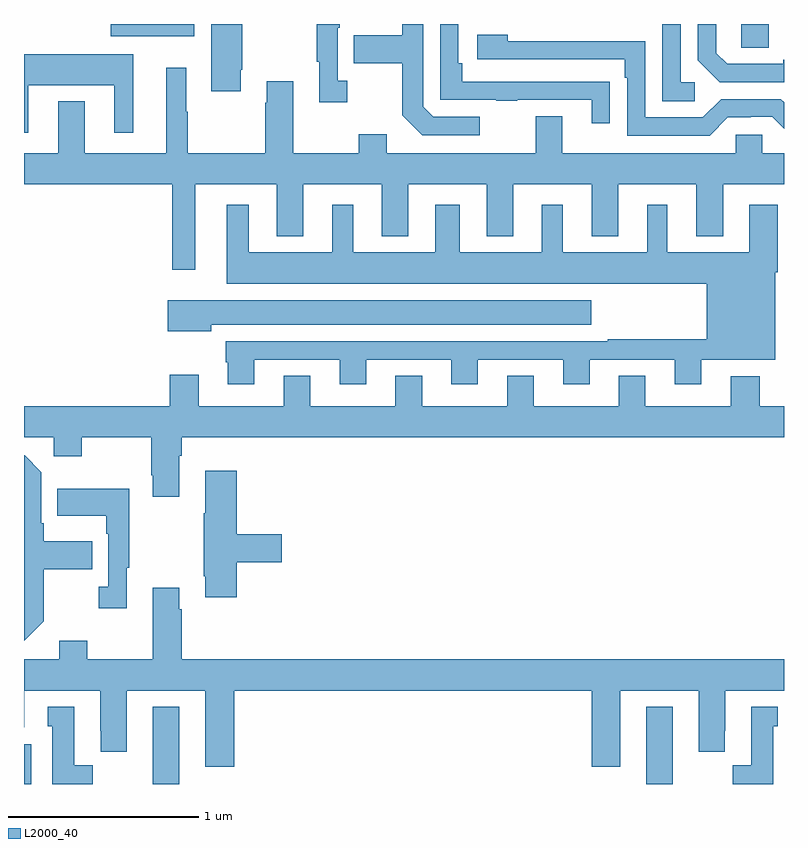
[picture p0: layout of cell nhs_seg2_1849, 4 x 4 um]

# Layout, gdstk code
import gdstk
lib = gdstk.Library(unit=1e-6, precision=1e-09)
def R(c, l, rs):  # rectangles x0, y0, x1, y1
    for r in rs: c.add(gdstk.rectangle(r[:2], r[2:], *l))
def P(c, l, *ps):  # polygons
    for p in ps: c.add(gdstk.Polygon(p, *l))
L2000_40 = (2000, 40)

nhs_seg2_1849 = lib.new_cell('nhs_seg2_1849')
R(nhs_seg2_1849, L2000_40, [(207,657.8,207.039,658.008), (207.677,657.8,207.817,658.207), (210.275,657.8,210.415,658.207), (210.774,661.675,210.919,661.8), (207.456,661.736,207.895,661.8)])
P(nhs_seg2_1849, L2000_40, [(208.141,661.558),(208.149,661.558),(208.149,661.8),(207.986,661.8),(207.986,661.446),(208.141,661.446)],
  [(209.398,661.311),(209.154,661.311),(209.1,661.365),(209.1,661.8),(208.992,661.8),(208.992,661.741),(208.735,661.741),(208.735,661.594),(208.992,661.594),(208.992,661.321),(209.097,661.215),(209.398,661.215)],
  [(210.083,661.496),(209.981,661.496),(209.981,661.497),(209.306,661.497),(209.306,661.594),(209.286,661.594),(209.286,661.8),(209.19,661.8),(209.19,661.401),(209.485,661.401),(209.485,661.396),(209.597,661.396),(209.597,661.401),(209.987,661.401),(209.987,661.278),(210.083,661.278)],
  [(210.529,661.494),(210.456,661.494),(210.456,661.8),(210.36,661.8),(210.36,661.393),(210.529,661.393)],
  [(211,661.613),(210.995,661.613),(210.995,661.59),(210.7,661.59),(210.643,661.647),(210.643,661.8),(210.546,661.8),(210.546,661.61),(210.662,661.494),(211,661.494)],
  [(208.702,661.502),(208.65,661.502),(208.65,661.781),(208.663,661.781),(208.663,661.8),(208.542,661.8),(208.542,661.601),(208.553,661.601),(208.553,661.389),(208.702,661.389)],
  [(210.705,661.308),(210.824,661.308),(210.824,661.311),(210.939,661.311),(211,661.25),(211,661.388),(210.984,661.404),(210.669,661.404),(210.573,661.308),(210.27,661.308),(210.27,661.71),(209.546,661.71),(209.546,661.744),(209.385,661.744),(209.385,661.614),(210.161,661.614),(210.161,661.517),(210.174,661.517),(210.174,661.212),(210.609,661.212)],
  [(207.022,661.478),(207.476,661.478),(207.476,661.227),(207.574,661.227),(207.574,661.642),(207,661.642),(207,661.227),(207.022,661.227)],
  [(207.901,660.956),(208.331,660.956),(208.331,660.683),(208.471,660.683),(208.471,660.956),(208.883,660.956),(208.883,660.683),(209.023,660.683),(209.023,660.956),(209.435,660.956),(209.435,660.683),(209.575,660.683),(209.575,660.956),(209.987,660.956),(209.987,660.683),(210.127,660.683),(210.127,660.956),(210.539,660.956),(210.539,660.683),(210.679,660.683),(210.679,660.956),(211,660.956),(211,661.12),(210.885,661.12),(210.885,661.218),(210.747,661.218),(210.747,661.12),(209.833,661.12),(209.833,661.315),(209.693,661.315),(209.693,661.12),(208.909,661.12),(208.909,661.219),(208.762,661.219),(208.762,661.12),(208.417,661.12),(208.417,661.498),(208.277,661.498),(208.277,661.385),(208.27,661.385),(208.27,661.12),(207.863,661.12),(207.863,661.337),(207.853,661.337),(207.853,661.57),(207.749,661.57),(207.749,661.12),(207.319,661.12),(207.319,661.393),(207.179,661.393),(207.179,661.12),(207,661.12),(207,660.956),(207.78,660.956),(207.78,660.507),(207.901,660.507)],
  [(208.213,660.033),(208.661,660.033),(208.661,659.904),(208.801,659.904),(208.801,660.033),(209.249,660.033),(209.249,659.904),(209.389,659.904),(209.389,660.033),(209.837,660.033),(209.837,659.904),(209.977,659.904),(209.977,660.033),(210.425,660.033),(210.425,659.904),(210.565,659.904),(210.565,660.032),(210.955,660.032),(210.955,660.494),(210.968,660.494),(210.968,660.85),(210.818,660.85),(210.818,660.598),(210.385,660.598),(210.385,660.85),(210.281,660.85),(210.281,660.598),(209.836,660.598),(209.836,660.85),(209.726,660.85),(209.726,660.598),(209.293,660.598),(209.293,660.85),(209.165,660.85),(209.165,660.598),(208.732,660.598),(208.732,660.85),(208.622,660.85),(208.622,660.598),(208.183,660.598),(208.183,660.85),(208.067,660.85),(208.067,660.434),(210.593,660.434),(210.593,660.142),(210.073,660.142),(210.073,660.129),(208.061,660.129),(208.061,660.021),(208.073,660.021),(208.073,659.904),(208.213,659.904)],
  [(207.985,660.218),(209.986,660.218),(209.986,660.346),(207.756,660.346),(207.756,660.182),(207.985,660.182)],
  [(207.817,659.528),(207.83,659.528),(207.83,659.624),(211,659.624),(211,659.788),(210.872,659.788),(210.872,659.947),(210.719,659.947),(210.719,659.788),(210.271,659.788),(210.271,659.948),(210.131,659.948),(210.131,659.788),(209.683,659.788),(209.683,659.948),(209.543,659.948),(209.543,659.788),(209.095,659.788),(209.095,659.948),(208.955,659.948),(208.955,659.788),(208.507,659.788),(208.507,659.948),(208.367,659.948),(208.367,659.788),(207.919,659.788),(207.919,659.953),(207.767,659.953),(207.767,659.788),(207,659.788),(207,659.624),(207.156,659.624),(207.156,659.525),(207.303,659.525),(207.303,659.624),(207.67,659.624),(207.67,659.425),(207.677,659.425),(207.677,659.313),(207.817,659.313)],
  [(207.103,658.657),(207.103,658.93),(207.359,658.93),(207.359,659.077),(207.103,659.077),(207.103,659.173),(207.09,659.173),(207.09,659.442),(207.003,659.529),(207,659.529),(207,658.554)],
  [(208.121,658.967),(208.357,658.967),(208.357,659.114),(208.121,659.114),(208.121,659.449),(207.953,659.449),(207.953,659.225),(207.946,659.225),(207.946,658.894),(207.953,658.894),(207.953,658.782),(208.121,658.782)],
  [(207.541,658.937),(207.553,658.937),(207.553,659.353),(207.175,659.353),(207.175,659.213),(207.432,659.213),(207.432,659.117),(207.444,659.117),(207.444,658.838),(207.393,658.838),(207.393,658.725),(207.541,658.725)],
  [(208.106,658.292),(209.987,658.292),(209.987,657.891),(210.139,657.891),(210.139,658.292),(210.551,658.292),(210.551,657.969),(210.688,657.969),(210.688,658.081),(210.691,658.081),(210.691,658.292),(211,658.292),(211,658.456),(207.83,658.456),(207.83,658.721),(207.817,658.721),(207.817,658.834),(207.677,658.834),(207.677,658.456),(207.333,658.456),(207.333,658.555),(207.185,658.555),(207.185,658.456),(207,658.456),(207,658.098),(207.001,658.098),(207.001,658.292),(207.401,658.292),(207.401,658.081),(207.404,658.081),(207.404,657.969),(207.541,657.969),(207.541,658.292),(207.953,658.292),(207.953,657.891),(208.106,657.891)],
  [(210.943,658.104),(210.967,658.104),(210.967,658.207),(210.827,658.207),(210.827,657.9),(210.731,657.9),(210.731,657.8),(210.943,657.8)],
  [(207.363,657.899),(207.265,657.899),(207.265,658.207),(207.125,658.207),(207.125,658.104),(207.149,658.104),(207.149,657.8),(207.363,657.8)])

lib.write_gds('nhs_seg2_1849.gds')
